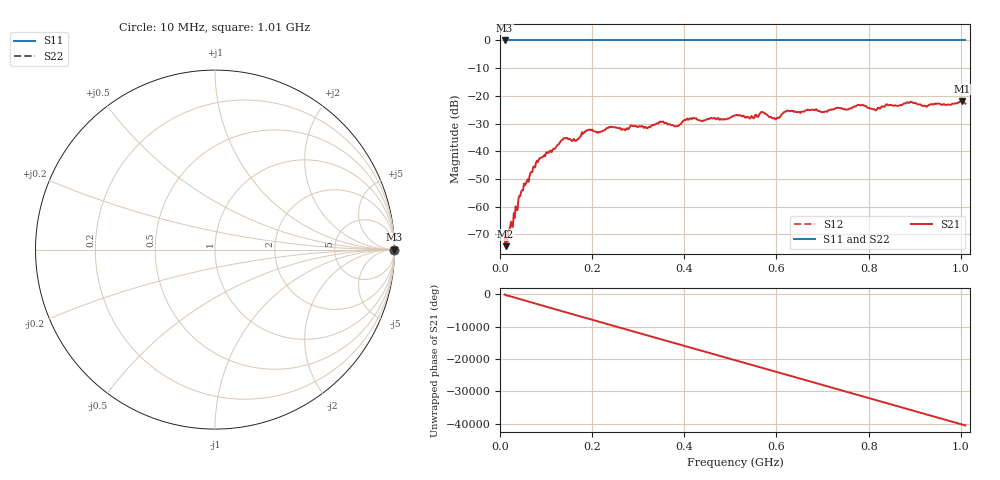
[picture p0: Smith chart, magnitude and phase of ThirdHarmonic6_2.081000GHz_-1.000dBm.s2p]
! 8/17/2025 12:55:11 AM
! C:\ANRITSUVNA\TEMP\TEMP.S2P
! CHANNEL.1
! TR.MEASUREMENT
! RAW.DATA
! RF.CORRECTION.OFF
! AVERAGING.OFF
! IF.BANDWIDTH: 5KHZ
! SWEEPTYPE:  FREQ.SWEEP(Linear)
! Reference Plane Port Info
! PORT:  PORT1  PORT2
! DISTANCE:  0  m  0  m
! TIME:  0  s  0  s
! PHASE.OFFSET:  0  deg.  0  deg.
! LOSS:  0  dB  0  dB
! REF.LOSS:  0  dB  0  dB
! REF.FREQ:  0  Hz  0  Hz
! Power Info
! POWER:  -20  dBm  -20  dBm
! EFF.POWER:  -20  dBm  -20  dBm
! SOURCE.ATTEN:  0  dB  0  dB
! TEST.ATTEN:  0  dB  0  dB
# GHZ S RI R 50.0
! FREQ.GHZ  S11RE  S11IM  S21RE  S21IM  S12RE  S12IM  S22RE  S22IM
!; PortSelection: Port_12
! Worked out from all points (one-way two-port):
!   501 points, 10 MHz to 1.01 GHz, reference 50 ohm
!   highest |S21| = -21.80 dB at 1.002 GHz (marker M1); lowest = -74.2 dB at 12 MHz (marker M2)
!   lowest |S11| = 0.0 dB at 10 MHz (marker M3)
!   |S11| at or under -10 dB: nowhere
!   |S22| runs from 0.0 to 0.0 dB; largest |S21 - S12| = 1.1
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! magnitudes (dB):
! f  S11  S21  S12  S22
! 10 MHz  0.0  -69.7  0.0  0.0
! 12 MHz  0.0  -74.2  0.0  0.0
! 28 MHz  0.0  -67.2  0.0  0.0
! 44 MHz  0.0  -56.1  0.0  0.0
! 82 MHz  0.0  -43.9  0.0  0.0
! 136 MHz  0.0  -35.8  0.0  0.0
! 166 MHz  0.0  -36.0  0.0  0.0
! 178 MHz  0.0  -33.1  0.0  0.0
! 344 MHz  0.0  -29.9  0.0  0.0
! 382 MHz  0.0  -31.0  0.0  0.0
! 416 MHz  0.0  -28.4  0.0  0.0
! 510 MHz  0.0  -27.1  0.0  0.0
! 546 MHz  0.0  -27.2  0.0  0.0
! 570 MHz  0.0  -25.9  0.0  0.0
! 596 MHz  0.0  -28.0  0.0  0.0
! 622 MHz  0.0  -25.5  0.0  0.0
! 678 MHz  0.0  -24.9  0.0  0.0
! 782 MHz  0.0  -23.5  0.0  0.0
! 814 MHz  0.0  -25.1  0.0  0.0
! 844 MHz  0.0  -23.4  0.0  0.0
! 1.002 GHz  0.0  -21.8  0.0  0.0
! 1.01 GHz  0.0  -22.8  0.0  0.0
